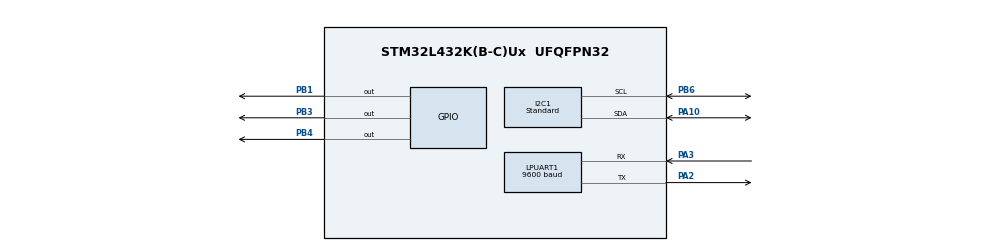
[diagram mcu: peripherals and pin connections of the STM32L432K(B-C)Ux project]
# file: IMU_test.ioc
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I2C1.I2C_Speed_Mode=I2C_Standard
I2C1.Timing=0x00000E14
LPUART1.BaudRate=9600
LPUART1.WordLength=UART_WORDLENGTH_8B
Mcu.Family=STM32L4
Mcu.Name=STM32L432K(B-C)Ux
Mcu.Package=UFQFPN32
NVIC.PriorityGroup=NVIC_PRIORITYGROUP_4
PA10.GPIO_Pu=GPIO_PULLUP
PA10.Mode=I2C
PA10.Signal=I2C1_SDA
PA2.Mode=Asynchronous
PA2.Signal=LPUART1_TX
PA3.Mode=Asynchronous
PA3.Signal=LPUART1_RX
PB1.Signal=GPIO_Output
PB3\ (JTDO-TRACESWO).Signal=GPIO_Output
PB4\ (NJTRST).Signal=GPIO_Output
PB6.GPIO_FM6=SYSCFG_FASTMODEPLUS_PB6
PB6.GPIO_Pu=GPIO_PULLUP
PB6.Mode=I2C
PB6.Signal=I2C1_SCL
ProjectManager.HeapSize=0x200
ProjectManager.StackSize=0x400
ProjectManager.TargetToolchain=STM32CubeIDE
RCC.HSE_VALUE=8000000
RCC.HSI48_VALUE=48000000
RCC.HSI_VALUE=16000000
RCC.LSE_VALUE=32768
RCC.MSI_VALUE=4000000
RCC.VCOOutputFreq_Value=32000000
board=custom

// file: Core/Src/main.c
/* USER CODE BEGIN Header */
/**
  ******************************************************************************
  * @file           : main.c
  * @brief          : Main program body
  ******************************************************************************
  * @attention
  *
  * Copyright (c) 2023 STMicroelectronics.
  * All rights reserved.
  *
  * This software is licensed under terms that can be found in the LICENSE file
  * in the root directory of this software component.
  * If no LICENSE file comes with this software, it is provided AS-IS.
  *
  ******************************************************************************
  */
/* USER CODE END Header */
#include "main.h"

/* USER CODE BEGIN Includes */
#include "stdio.h"
/* USER CODE END Includes */

I2C_HandleTypeDef hi2c1;

UART_HandleTypeDef hlpuart1;

void SystemClock_Config(void);
static void MX_GPIO_Init(void);
static void MX_I2C1_Init(void);
static void MX_LPUART1_UART_Init(void);

int main(void)
{

  /* MCU Configuration--------------------------------------------------------*/

  /* Reset of all peripherals, Initializes the Flash interface and the Systick. */
  HAL_Init();

  /* Configure the system clock */
  SystemClock_Config();

  /* Initialize all configured peripherals */
  MX_GPIO_Init();
  MX_I2C1_Init();
  MX_LPUART1_UART_Init();
  /* USER CODE BEGIN 2 */
  uint8_t conf_page0[2] = {0x07, 0x00};
  HAL_I2C_Master_Transmit(&hi2c1, 0x28<<1, conf_page0, sizeof(conf_page0), 10);
  HAL_Delay(10);

  // Select BNO055 system power mode (Page 0; 0x3E)
  uint8_t pwr_pwrmode[2] = {0x3E, 0};
  HAL_I2C_Master_Transmit(&hi2c1, 0x28<<1, pwr_pwrmode, sizeof(pwr_pwrmode), 10);
  HAL_Delay(10);

	// Select BNO055 system operation mode (Page 0; 0x3D)
  uint8_t opr_oprmode[2] = {0x3D, 0x0C};
  HAL_I2C_Master_Transmit(&hi2c1, 0x28<<1, opr_oprmode, sizeof(opr_oprmode), 10);
  HAL_Delay(50);

  uint8_t unitsel = (0 << 7) | // Orientation = Android
                      (0 << 4) | // Temperature = Celsius
                      (0 << 2) | // Euler = Degrees
                      (1 << 1) | // Gyro = Rads
                      (0 << 0);  // Accelerometer = m/s^2
  uint8_t unit_sel[2] = {0x3B, unitsel};
  HAL_I2C_Master_Transmit(&hi2c1, 0x28<<1, unit_sel, sizeof(unit_sel), 10);
  HAL_Delay(50);

  int16_t roll = 0.0;
  int16_t pitch = 0.0;
  int16_t yaw = 0.0;
  //xxxx0xxb

  /* USER CODE END 2 */

  /* Infinite loop */
  /* USER CODE BEGIN WHILE */
  while (1)
  {
	uint8_t euler_angles[6];
	HAL_I2C_Mem_Read(&hi2c1, 0x28<<1, 0x1A, I2C_MEMADD_SIZE_8BIT, euler_angles, 6, 100);
	yaw = ((int16_t)euler_angles[0]) | (((int16_t)euler_angles[1]) << 8);;
	roll = ((int16_t)euler_angles[2]) | (((int16_t)euler_angles[3]) << 8);
	pitch = ((int16_t)euler_angles[4]) | (((int16_t)euler_angles[5]) << 8);
	printf("roll: %.2f pitch: %.2f yaw: %.2f\r\n", (((double)roll)/16), (((double)pitch)/16), ((double)yaw) / 16.0);
	HAL_Delay(10);
    /* USER CODE END WHILE */

  }
}

void SystemClock_Config(void)
{
  RCC_OscInitTypeDef RCC_OscInitStruct = {0};
  RCC_ClkInitTypeDef RCC_ClkInitStruct = {0};

  /** Configure the main internal regulator output voltage
  */
  if (HAL_PWREx_ControlVoltageScaling(PWR_REGULATOR_VOLTAGE_SCALE1) != HAL_OK)
  {
    Error_Handler();
  }

  /** Initializes the RCC Oscillators according to the specified parameters
  * in the RCC_OscInitTypeDef structure.
  */
  RCC_OscInitStruct.OscillatorType = RCC_OSCILLATORTYPE_MSI;
  RCC_OscInitStruct.MSIState = RCC_MSI_ON;
  RCC_OscInitStruct.MSICalibrationValue = 0;
  RCC_OscInitStruct.MSIClockRange = RCC_MSIRANGE_6;
  RCC_OscInitStruct.PLL.PLLState = RCC_PLL_NONE;
  if (HAL_RCC_OscConfig(&RCC_OscInitStruct) != HAL_OK)
  {
    Error_Handler();
  }

  /** Initializes the CPU, AHB and APB buses clocks
  */
  RCC_ClkInitStruct.ClockType = RCC_CLOCKTYPE_HCLK|RCC_CLOCKTYPE_SYSCLK
                              |RCC_CLOCKTYPE_PCLK1|RCC_CLOCKTYPE_PCLK2;
  RCC_ClkInitStruct.SYSCLKSource = RCC_SYSCLKSOURCE_MSI;
  RCC_ClkInitStruct.AHBCLKDivider = RCC_SYSCLK_DIV1;
  RCC_ClkInitStruct.APB1CLKDivider = RCC_HCLK_DIV1;
  RCC_ClkInitStruct.APB2CLKDivider = RCC_HCLK_DIV1;

  if (HAL_RCC_ClockConfig(&RCC_ClkInitStruct, FLASH_LATENCY_0) != HAL_OK)
  {
    Error_Handler();
  }
}

static void MX_I2C1_Init(void)
{

  hi2c1.Instance = I2C1;
  hi2c1.Init.Timing = 0x00000E14;
  hi2c1.Init.OwnAddress1 = 0;
  hi2c1.Init.AddressingMode = I2C_ADDRESSINGMODE_7BIT;
  hi2c1.Init.DualAddressMode = I2C_DUALADDRESS_DISABLE;
  hi2c1.Init.OwnAddress2 = 0;
  hi2c1.Init.OwnAddress2Masks = I2C_OA2_NOMASK;
  hi2c1.Init.GeneralCallMode = I2C_GENERALCALL_DISABLE;
  hi2c1.Init.NoStretchMode = I2C_NOSTRETCH_DISABLE;
  if (HAL_I2C_Init(&hi2c1) != HAL_OK)
  {
    Error_Handler();
  }

  /** Configure Analogue filter
  */
  if (HAL_I2CEx_ConfigAnalogFilter(&hi2c1, I2C_ANALOGFILTER_ENABLE) != HAL_OK)
  {
    Error_Handler();
  }

  /** Configure Digital filter
  */
  if (HAL_I2CEx_ConfigDigitalFilter(&hi2c1, 0) != HAL_OK)
  {
    Error_Handler();
  }

}

static void MX_LPUART1_UART_Init(void)
{

  hlpuart1.Instance = LPUART1;
  hlpuart1.Init.BaudRate = 9600;
  hlpuart1.Init.WordLength = UART_WORDLENGTH_8B;
  hlpuart1.Init.StopBits = UART_STOPBITS_1;
  hlpuart1.Init.Parity = UART_PARITY_NONE;
  hlpuart1.Init.Mode = UART_MODE_TX_RX;
  hlpuart1.Init.HwFlowCtl = UART_HWCONTROL_NONE;
  hlpuart1.Init.OneBitSampling = UART_ONE_BIT_SAMPLE_DISABLE;
  hlpuart1.AdvancedInit.AdvFeatureInit = UART_ADVFEATURE_NO_INIT;
  if (HAL_UART_Init(&hlpuart1) != HAL_OK)
  {
    Error_Handler();
  }

}

static void MX_GPIO_Init(void)
{
  GPIO_InitTypeDef GPIO_InitStruct = {0};

  /* GPIO Ports Clock Enable */
  __HAL_RCC_GPIOA_CLK_ENABLE();
  __HAL_RCC_GPIOB_CLK_ENABLE();

  /*Configure GPIO pin Output Level */
  HAL_GPIO_WritePin(GPIOB, GPIO_PIN_1|GPIO_PIN_3|GPIO_PIN_4, GPIO_PIN_RESET);

  /*Configure GPIO pins : PB1 PB3 PB4 */
  GPIO_InitStruct.Pin = GPIO_PIN_1|GPIO_PIN_3|GPIO_PIN_4;
  GPIO_InitStruct.Mode = GPIO_MODE_OUTPUT_PP;
  GPIO_InitStruct.Pull = GPIO_NOPULL;
  GPIO_InitStruct.Speed = GPIO_SPEED_FREQ_LOW;
  HAL_GPIO_Init(GPIOB, &GPIO_InitStruct);

}

/* USER CODE BEGIN 4 */
#ifdef __GNUC__
#define PUTCHAR_PROTOTYPE int __io_putchar(int ch)
#else
  #define PUTCHAR_PROTOTYPE int fputc(int ch, FILE *f)
#endif /* __GNUC__ */
PUTCHAR_PROTOTYPE
{
  HAL_UART_Transmit(&hlpuart1, (uint8_t *)&ch, 1, 0xFFFF);
  return ch;
}

/* USER CODE END 4 */

void Error_Handler(void)
{
  __disable_irq();
  while (1)
  {
  }
}
